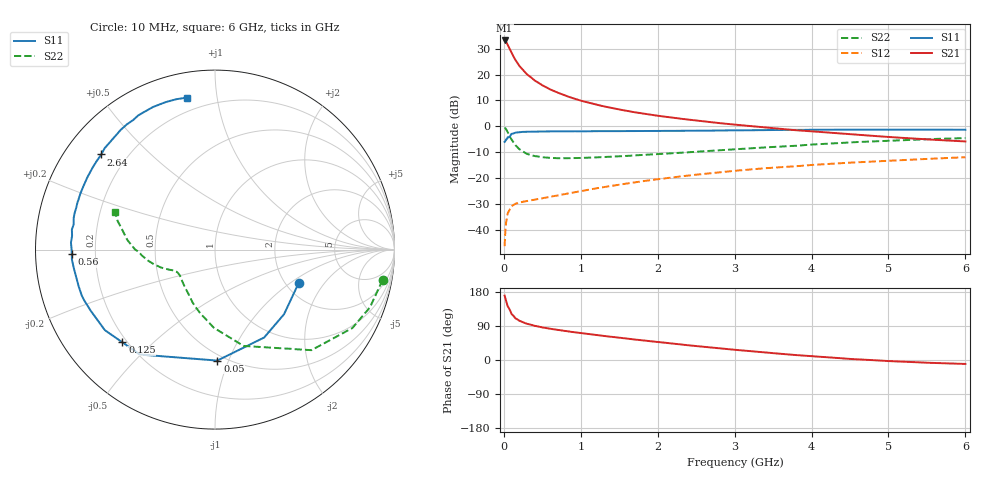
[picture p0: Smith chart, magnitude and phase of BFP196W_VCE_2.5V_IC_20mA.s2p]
! Infineon Technologies  Discrete & RF Semiconductors
! BFP196W
! VCE = 2.5 V,  IC =  20mA
! Common Emitter S-Parameters:  Jan 2016
# GHz  S  MA  R  50
!  f  S11  S21  S12  S22
! GHz  MAG  ANG  MAG  ANG  MAG  ANG  MAG  ANG
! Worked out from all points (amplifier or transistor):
!   210 points, 10 MHz to 6 GHz, reference 50 ohm
!   highest |S21| = 33.1 dB at 10 MHz (marker M1)
!   |S21| within 3 dB of that: start of sweep to 71.4 MHz
!   unconditionally stable (mu >= 1): 895.8 MHz to 3.327 GHz
!   at 185 MHz: K = 0.34, MSG = 26.8 dB, |S12| = -29.6 dB
!   at 1.52 GHz: K = 1.14, MAG = 12.1 dB, |S12| = -22.4 dB
!   at 6 GHz: K = 0.94, MSG = 3.0 dB, |S12| = -11.9 dB
!   S11 on the Smith chart (normalised r, x): 10 MHz: 2.33, -1.17; 50 MHz: 0.46, -0.91; 125 MHz: 0.18, -0.40; 560 MHz: 0.11, -0.02; 2.64 GHz: 0.11, +0.36; 6 GHz: 0.13, +0.83
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0.01  0.5019 -22.0  45.34 169.8  0.0049 79.3  0.9488 -10.3
0.02  0.5269 -43.1  44.83 162.8  0.01 73.6  0.9214 -20.4
0.03  0.5612 -60.8  42.82 155.2  0.0142 69.1  0.8815 -29.7
0.05  0.6185 -88.8  37.48 141.7  0.021 56.0  0.7763 -46.2
0.1  0.7189 -125.6  25.98 121.4  0.0288 40.1  0.5598 -73.5
0.125  0.7302 -135.0  22.42 116.6  0.0305 36.8  0.4919 -81.1
0.15  0.7602 -143.8  19.07 110.1  0.0322 33.9  0.4353 -90.9
0.2  0.7715 -153.7  14.75 103.7  0.0338 31.7  0.3647 -102.9
0.26  0.7852 -161.0  11.69 98.4  0.0356 31.0  0.3194 -113.1
0.3  0.7867 -164.8  10.1 95.6  0.0363 31.4  0.2949 -118.8
0.4  0.7922 -171.5  7.681 90.2  0.0386 33.0  0.2681 -128.8
0.5  0.7992 -176.1  6.193 85.9  0.0412 36.0  0.2543 -135.7
0.56  0.7982 -178.2  5.581 84.0  0.0428 37.5  0.2495 -138.5
0.8  0.7999 174.5  3.904 76.5  0.0499 43.2  0.2431 -146.0
1.02  0.8012 169.5  3.078 70.7  0.0572 46.9  0.2467 -149.9
1.4  0.8098 161.8  2.266 61.1  0.0714 50.9  0.2609 -153.6
2.02  0.8172 150.5  1.589 47.1  0.0967 52.7  0.2928 -158.3
2.64  0.8263 140.1  1.228 34.0  0.1233 51.0  0.3341 -164.3
3.1  0.8392 132.8  1.048 25.3  0.1433 48.5  0.3691 -169.4
4.1  0.8617 118.5  0.783 8.8  0.184 41.7  0.4545 178.5
5.1  0.866 107.8  0.611 -3.6  0.221 34.3  0.5355 167.0
6  0.8613 100.4  0.512 -10.4  0.2541 27.8  0.5945 159.5
